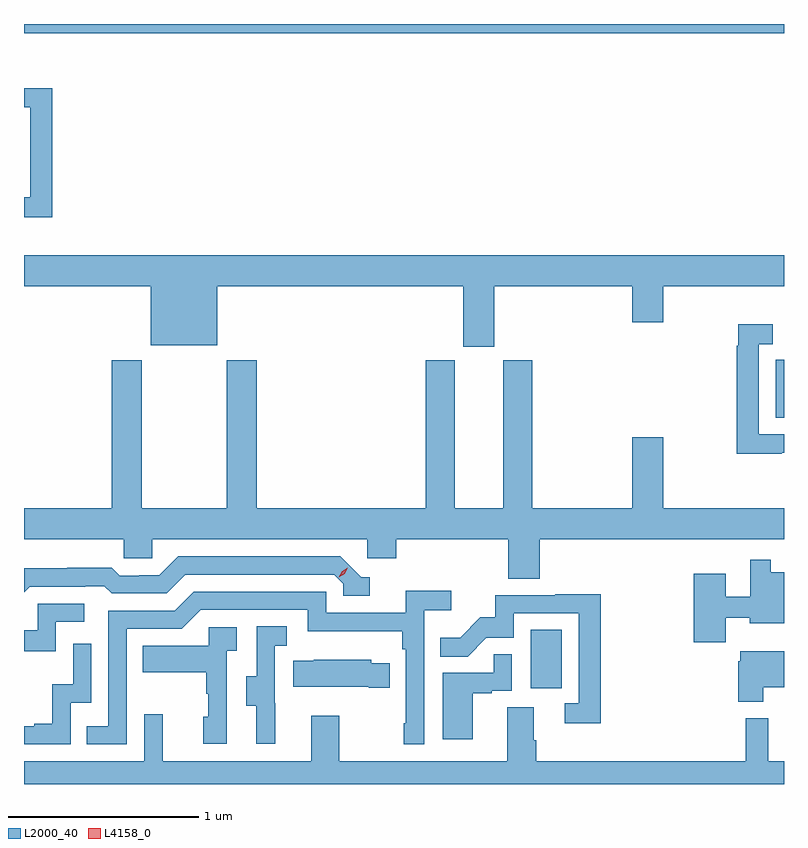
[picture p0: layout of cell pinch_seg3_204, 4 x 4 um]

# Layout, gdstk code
import gdstk
lib = gdstk.Library(unit=1e-6, precision=1e-09)
def R(c, l, rs):  # rectangles x0, y0, x1, y1
    for r in rs: c.add(gdstk.rectangle(r[:2], r[2:], *l))
def P(c, l, *ps):  # polygons
    for p in ps: c.add(gdstk.Polygon(p, *l))
L2000_40 = (2000, 40)
L4158_0 = (4158, 0)

pinch_seg3_204 = lib.new_cell('pinch_seg3_204')
R(pinch_seg3_204, L2000_40, [(955.682,732.102,955.846,732.409), (956.972,733.524,957.016,733.831), (953.016,735.548,957.016,735.597)])
P(pinch_seg3_204, L2000_40, [(953.165,735.26),(953.016,735.26),(953.016,735.159),(953.049,735.159),(953.049,734.685),(953.016,734.685),(953.016,734.58),(953.165,734.58)],
  [(955.492,734.216),(956.216,734.216),(956.216,734.028),(956.38,734.028),(956.38,734.216),(957.016,734.216),(957.016,734.38),(953.016,734.38),(953.016,734.216),(953.684,734.216),(953.684,733.907),(954.034,733.907),(954.034,734.216),(955.328,734.216),(955.328,733.899),(955.492,733.899)],
  [(957.005,733.341),(957.016,733.341),(957.016,733.437),(956.883,733.437),(956.883,733.911),(956.956,733.911),(956.956,734.017),(956.775,734.017),(956.775,733.904),(956.767,733.904),(956.767,733.336),(957.005,733.336)],
  [(955.73,732.884),(957.016,732.884),(957.016,733.048),(956.38,733.048),(956.38,733.423),(956.216,733.423),(956.216,733.048),(955.691,733.048),(955.691,733.827),(955.538,733.827),(955.538,733.048),(955.282,733.048),(955.282,733.827),(955.13,733.827),(955.13,733.048),(954.242,733.048),(954.242,733.828),(954.082,733.828),(954.082,733.048),(953.637,733.048),(953.637,733.828),(953.477,733.828),(953.477,733.048),(953.016,733.048),(953.016,732.884),(953.541,732.884),(953.541,732.786),(953.691,732.786),(953.691,732.884),(954.822,732.884),(954.822,732.786),(954.974,732.786),(954.974,732.884),(955.565,732.884),(955.565,732.676),(955.73,732.676)],
  [(954.835,732.684),(954.792,732.684),(954.681,732.795),(953.828,732.795),(953.729,732.696),(953.622,732.696),(953.622,732.693),(953.519,732.693),(953.477,732.736),(953.244,732.736),(953.244,732.733),(953.016,732.733),(953.016,732.606),(953.046,732.636),(953.339,732.636),(953.339,732.639),(953.438,732.639),(953.477,732.6),(953.766,732.6),(953.865,732.699),(954.648,732.699),(954.696,732.651),(954.696,732.588),(954.835,732.588)],
  [(956.71,732.473),(956.837,732.473),(956.837,732.443),(957.016,732.443),(957.016,732.712),(956.947,732.712),(956.947,732.778),(956.838,732.778),(956.838,732.583),(956.71,732.583),(956.71,732.703),(956.54,732.703),(956.54,732.342),(956.71,732.342)],
  [(953.556,732.414),(953.847,732.414),(953.946,732.513),(954.51,732.513),(954.51,732.401),(955.006,732.401),(955.006,732.305),(955.026,732.305),(955.026,731.917),(955.014,731.917),(955.014,731.805),(955.122,731.805),(955.122,732.512),(955.264,732.512),(955.264,732.614),(955.025,732.614),(955.025,732.498),(954.606,732.498),(954.606,732.609),(953.909,732.609),(953.81,732.51),(953.46,732.51),(953.46,731.901),(953.347,731.901),(953.347,731.805),(953.556,731.805)],
  [(956.051,732.596),(955.813,732.596),(955.813,732.591),(955.495,732.591),(955.495,732.474),(955.418,732.474),(955.311,732.367),(955.207,732.367),(955.207,732.268),(955.351,732.268),(955.449,732.366),(955.593,732.366),(955.593,732.495),(955.935,732.495),(955.935,732.021),(955.863,732.021),(955.863,731.916),(956.051,731.916)],
  [(953.184,732.45),(953.332,732.45),(953.332,732.546),(953.088,732.546),(953.088,732.405),(953.016,732.405),(953.016,732.297),(953.184,732.297)],
  [(954.338,732.021),(954.336,732.021),(954.336,732.325),(954.4,732.325),(954.4,732.428),(954.24,732.428),(954.24,732.165),(954.185,732.165),(954.185,732.01),(954.239,732.01),(954.239,731.808),(954.338,731.808)],
  [(954.084,732.299),(954.136,732.299),(954.136,732.423),(953.988,732.423),(953.988,732.325),(953.641,732.325),(953.641,732.185),(953.976,732.185),(953.976,732.071),(953.986,732.071),(953.986,731.952),(953.96,731.952),(953.96,731.808),(954.084,731.808)],
  [(953.262,732.024),(953.37,732.024),(953.37,732.334),(953.274,732.334),(953.274,732.122),(953.165,732.122),(953.165,731.914),(953.069,731.914),(953.069,731.901),(953.016,731.901),(953.016,731.805),(953.262,731.805)],
  [(956.908,732.107),(957.016,732.107),(957.016,732.295),(956.786,732.295),(956.786,732.243),(956.774,732.243),(956.774,732.029),(956.908,732.029)],
  [(955.378,732.075),(955.478,732.075),(955.478,732.087),(955.584,732.087),(955.584,732.281),(955.489,732.281),(955.489,732.183),(955.22,732.183),(955.22,731.832),(955.378,731.832)],
  [(954.941,732.232),(954.843,732.232),(954.843,732.25),(954.541,732.25),(954.541,732.247),(954.433,732.247),(954.433,732.11),(954.83,732.11),(954.83,732.103),(954.941,732.103)],
  [(954.527,731.956),(954.527,731.716),(953.747,731.716),(953.747,731.965),(953.649,731.965),(953.649,731.716),(953.016,731.716),(953.016,731.597),(957.016,731.597),(957.016,731.716),(956.933,731.716),(956.933,731.944),(956.815,731.944),(956.815,731.716),(955.712,731.716),(955.712,731.828),(955.699,731.828),(955.699,732.002),(955.559,732.002),(955.559,731.716),(954.675,731.716),(954.675,731.956)])
P(pinch_seg3_204, L4158_0, [(954.673,732.684),(954.673,732.684),(954.69,732.717),(954.721,732.736),(954.721,732.736),(954.721,732.735),(954.704,732.703),(954.673,732.684)])

lib.write_gds('pinch_seg3_204.gds')
